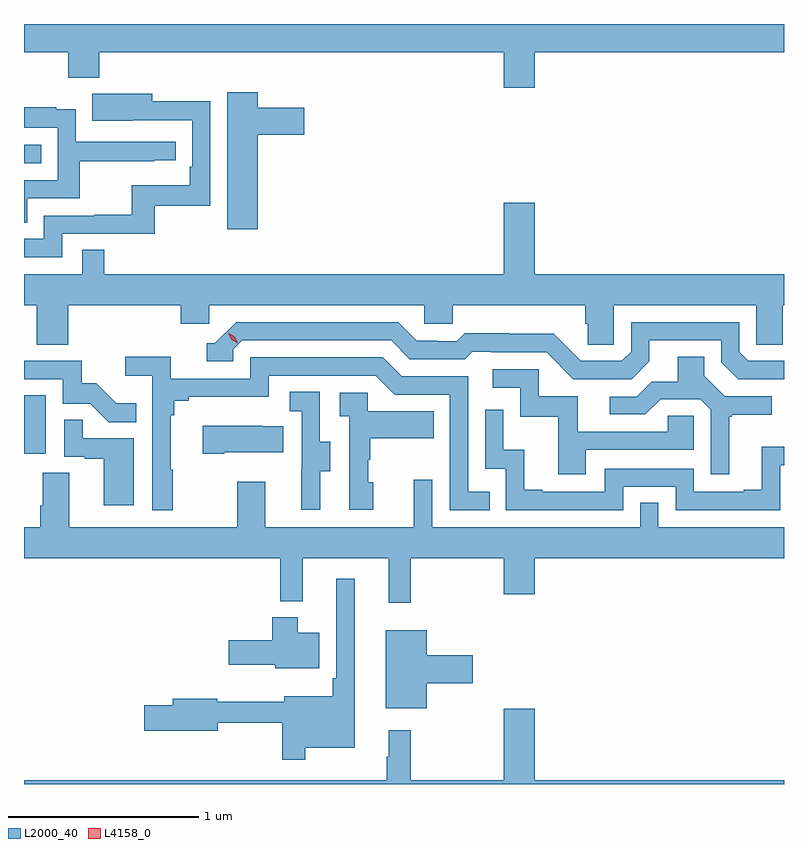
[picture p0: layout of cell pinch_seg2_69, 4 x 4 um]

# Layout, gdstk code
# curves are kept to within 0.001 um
import gdstk
lib = gdstk.Library(unit=1e-6, precision=1e-09)
def R(c, l, rs):  # rectangles x0, y0, x1, y1
    for r in rs: c.add(gdstk.rectangle(r[:2], r[2:], *l))
def P(c, l, *ps):  # polygons
    for p in ps: c.add(gdstk.Polygon(p, *l))
L2000_40 = (2000, 40)
L4158_0 = (4158, 0)

pinch_seg2_69 = lib.new_cell('pinch_seg2_69')
R(pinch_seg2_69, L2000_40, [(1025.619,649.518,1025.734,649.825), (1025.619,651.048,1025.711,651.144)])
P(pinch_seg2_69, L2000_40, [(1028.308,651.632),(1029.619,651.632),(1029.619,651.78),(1025.619,651.78),(1025.619,651.632),(1025.853,651.632),(1025.853,651.497),(1026.014,651.497),(1026.014,651.632),(1028.144,651.632),(1028.144,651.444),(1028.308,651.444)],
  [(1026.85,651.197),(1027.093,651.197),(1027.093,651.339),(1026.85,651.339),(1026.85,651.421),(1026.689,651.421),(1026.689,650.7),(1026.85,650.7)],
  [(1025.82,650.676),(1026.307,650.676),(1026.307,650.823),(1026.6,650.823),(1026.6,651.374),(1026.295,651.374),(1026.295,651.412),(1025.977,651.412),(1025.977,651.272),(1026.191,651.272),(1026.191,651.273),(1026.504,651.273),(1026.504,651.028),(1026.491,651.028),(1026.491,650.932),(1026.186,650.932),(1026.186,650.777),(1025.989,650.777),(1025.989,650.772),(1025.724,650.772),(1025.724,650.649),(1025.619,650.649),(1025.619,650.553),(1025.82,650.553)],
  [(1025.635,650.862),(1025.912,650.862),(1025.912,651.058),(1026.305,651.058),(1026.305,651.063),(1026.418,651.063),(1026.418,651.159),(1025.892,651.159),(1025.892,651.331),(1025.789,651.331),(1025.789,651.343),(1025.619,651.343),(1025.619,651.234),(1025.796,651.234),(1025.796,650.958),(1025.619,650.958),(1025.619,650.734),(1025.635,650.734)],
  [(1025.852,650.3),(1026.443,650.3),(1026.443,650.202),(1026.594,650.202),(1026.594,650.3),(1027.725,650.3),(1027.725,650.202),(1027.875,650.202),(1027.875,650.3),(1028.573,650.3),(1028.573,650.202),(1028.587,650.202),(1028.587,650.092),(1028.724,650.092),(1028.724,650.3),(1029.474,650.3),(1029.474,650.092),(1029.613,650.092),(1029.613,650.3),(1029.619,650.3),(1029.619,650.464),(1028.308,650.464),(1028.308,650.839),(1028.144,650.839),(1028.144,650.464),(1026.041,650.464),(1026.041,650.591),(1025.925,650.591),(1025.925,650.464),(1025.619,650.464),(1025.619,650.3),(1025.687,650.3),(1025.687,650.092),(1025.852,650.092)],
  [(1029.619,650.007),(1029.432,650.007),(1029.384,650.055),(1029.384,650.211),(1028.814,650.211),(1028.814,650.055),(1028.766,650.007),(1028.55,650.007),(1028.408,650.149),(1028.172,650.149),(1028.172,650.152),(1027.939,650.152),(1027.897,650.109),(1027.794,650.109),(1027.794,650.112),(1027.687,650.112),(1027.588,650.211),(1026.735,650.211),(1026.624,650.1),(1026.581,650.1),(1026.581,650.004),(1026.72,650.004),(1026.72,650.067),(1026.768,650.115),(1027.551,650.115),(1027.65,650.016),(1027.939,650.016),(1027.978,650.055),(1028.077,650.055),(1028.077,650.052),(1028.37,650.052),(1028.511,649.911),(1028.817,649.911),(1028.911,650.005),(1028.911,650.115),(1029.288,650.115),(1029.288,650.001),(1029.378,649.911),(1029.619,649.91)],
  [(1026.403,649.433),(1026.391,649.433),(1026.391,649.721),(1026.41,649.721),(1026.41,649.798),(1026.487,649.798),(1026.487,649.817),(1026.906,649.817),(1026.906,649.929),(1027.47,649.929),(1027.569,649.83),(1027.86,649.83),(1027.86,649.221),(1028.069,649.221),(1028.069,649.317),(1027.956,649.317),(1027.956,649.926),(1027.606,649.926),(1027.507,650.025),(1026.81,650.025),(1026.81,649.914),(1026.392,649.914),(1026.392,650.03),(1026.153,650.03),(1026.153,649.928),(1026.294,649.928),(1026.294,649.221),(1026.403,649.221)],
  [(1029.331,649.713),(1029.343,649.713),(1029.343,649.724),(1029.555,649.724),(1029.555,649.821),(1029.306,649.821),(1029.199,649.928),(1029.199,650.03),(1029.059,650.03),(1029.059,649.898),(1028.924,649.898),(1028.844,649.818),(1028.703,649.818),(1028.703,649.725),(1028.89,649.725),(1028.971,649.806),(1029.177,649.806),(1029.234,649.749),(1029.234,649.41),(1029.331,649.41)],
  [(1026.209,649.783),(1026.105,649.783),(1025.998,649.89),(1025.922,649.89),(1025.922,650.007),(1025.619,650.007),(1025.619,649.911),(1025.823,649.911),(1025.823,649.782),(1025.967,649.782),(1026.065,649.684),(1026.209,649.684)],
  [(1028.575,649.539),(1029.144,649.539),(1029.144,649.719),(1029.007,649.719),(1029.007,649.635),(1028.533,649.635),(1028.533,649.821),(1028.328,649.821),(1028.328,649.962),(1028.085,649.962),(1028.085,649.866),(1028.232,649.866),(1028.232,649.713),(1028.431,649.713),(1028.431,649.41),(1028.575,649.41)],
  [(1027.177,649.426),(1027.231,649.426),(1027.231,649.581),(1027.176,649.581),(1027.176,649.844),(1027.017,649.844),(1027.017,649.741),(1027.08,649.741),(1027.08,649.437),(1027.079,649.437),(1027.079,649.224),(1027.177,649.224)],
  [(1027.456,649.368),(1027.43,649.368),(1027.43,649.487),(1027.441,649.487),(1027.441,649.601),(1027.775,649.601),(1027.775,649.741),(1027.428,649.741),(1027.428,649.839),(1027.281,649.839),(1027.281,649.715),(1027.332,649.715),(1027.332,649.224),(1027.456,649.224)],
  [(1028.772,649.344),(1029.048,649.344),(1029.048,649.221),(1029.6,649.221),(1029.6,649.457),(1029.619,649.457),(1029.619,649.555),(1029.503,649.555),(1029.503,649.33),(1029.407,649.33),(1029.407,649.317),(1029.144,649.317),(1029.144,649.44),(1028.676,649.44),(1028.676,649.317),(1028.347,649.317),(1028.347,649.33),(1028.252,649.33),(1028.252,649.538),(1028.142,649.538),(1028.142,649.75),(1028.046,649.75),(1028.046,649.44),(1028.154,649.44),(1028.154,649.221),(1028.772,649.221)],
  [(1026.196,649.599),(1025.927,649.599),(1025.927,649.697),(1025.832,649.697),(1025.832,649.503),(1025.939,649.503),(1025.939,649.491),(1026.038,649.491),(1026.038,649.248),(1026.196,649.248)],
  [(1026.673,649.526),(1026.983,649.526),(1026.983,649.663),(1026.875,649.663),(1026.875,649.666),(1026.561,649.666),(1026.561,649.519),(1026.673,649.519)],
  [(1027.655,648.968),(1028.144,648.968),(1028.144,648.78),(1028.308,648.78),(1028.308,648.968),(1029.619,648.968),(1029.619,649.132),(1028.958,649.132),(1028.958,649.259),(1028.862,649.259),(1028.862,649.132),(1027.767,649.132),(1027.767,649.381),(1027.67,649.381),(1027.67,649.132),(1026.889,649.132),(1026.889,649.372),(1026.742,649.372),(1026.742,649.132),(1025.857,649.132),(1025.857,649.418),(1025.717,649.418),(1025.717,649.244),(1025.705,649.244),(1025.705,649.132),(1025.619,649.132),(1025.619,648.968),(1026.967,648.968),(1026.967,648.743),(1027.085,648.743),(1027.085,648.968),(1027.538,648.968),(1027.538,648.735),(1027.655,648.735)],
  [(1027.099,647.972),(1027.36,647.972),(1027.36,648.859),(1027.263,648.859),(1027.263,648.337),(1027.243,648.337),(1027.243,648.241),(1026.989,648.241),(1026.989,648.212),(1026.636,648.212),(1026.636,648.23),(1026.401,648.23),(1026.401,648.194),(1026.252,648.194),(1026.252,648.059),(1026.64,648.059),(1026.64,648.102),(1026.978,648.102),(1026.978,647.907),(1027.099,647.907)],
  [(1027.174,648.577),(1027.06,648.577),(1027.06,648.658),(1026.926,648.658),(1026.926,648.537),(1026.696,648.537),(1026.696,648.407),(1026.942,648.407),(1026.942,648.389),(1027.174,648.389)],
  [(1027.738,648.311),(1027.981,648.311),(1027.981,648.458),(1027.738,648.458),(1027.738,648.589),(1027.523,648.589),(1027.523,648.179),(1027.738,648.179)],
  [(1029.619,647.8),(1028.308,647.8),(1028.308,648.175),(1028.144,648.175),(1028.144,647.8),(1027.655,647.8),(1027.655,648.064),(1027.538,648.064),(1027.538,647.924),(1027.527,647.924),(1027.527,647.8),(1025.619,647.8),(1025.619,647.78),(1029.619,647.78)])
P(pinch_seg2_69, L4158_0, [(1026.743,650.1),(1026.712,650.119),(1026.695,650.152),(1026.695,650.152),(1026.696,650.152),(1026.727,650.133),(1026.743,650.1),(1026.743,650.1)])

lib.write_gds('pinch_seg2_69.gds')
